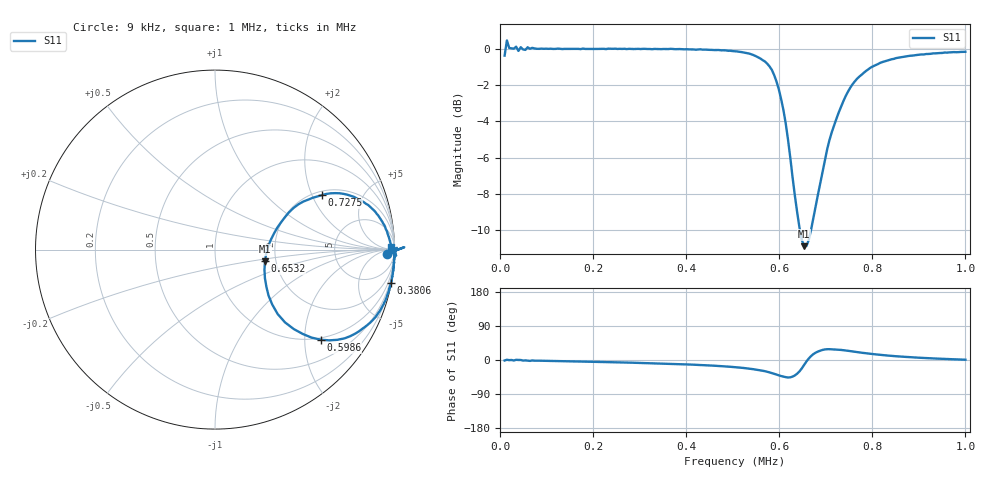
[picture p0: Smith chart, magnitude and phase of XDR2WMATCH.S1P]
!Agilent Technologies,E5071C,MY46100305,A.07.02
!Date: Fri Jan 01 00:51:58 1988
!Data & Calibration Information:
!Freq	S11:SOLT1(ON)
# Hz S MA R 50
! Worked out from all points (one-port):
!   201 points, 9 kHz to 1 MHz, reference 50 ohm
!   lowest |S11| = -10.9 dB at 653.1 kHz (marker M1), VSWR 1.80, Z = 87.5 - j12.3 ohm
!   |S11| at or under -10 dB: 644.2 kHz to 667.9 kHz (23.62 kHz wide, 3.6 % of centre)
!   S11 on the Smith chart (normalised r, x): 9 kHz: 36, -19; 380.6 kHz: 0, -11; 598.6 kHz: 0.95, -2.39; 653.1 kHz: 1.75, -0.25; 727.5 kHz: 2.16, +2.36; 1 MHz: 68, +51
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9000  0.9579 -1.3
13955  1.055 0.7
18910  1.005 -0.3
28820  1.001 -1.3
33775  1.014 0.5
38730  0.9869 0.1
43685  1.01 0.0
63505  1 -2.4
68460  1.006 -1.2
132875  0.9987 -3.1
256750  1 -6.4
380625  0.9981 -10.7
504500  0.9845 -18.8
539185  0.9664 -23.5
568915  0.9227 -29.6
583780  0.8749 -34.4
598645  0.7742 -40.4
613510  0.6238 -45.2
628375  0.4419 -43.8
643240  0.3212 -30.0
653150  0.2859 -13.0
663060  0.2973 3.8
697745  0.4933 27.9
727475  0.6672 27.1
752250  0.7808 23.4
801800  0.8955 15.5
876125  0.955 7.8
1000000  0.9813 0.8
